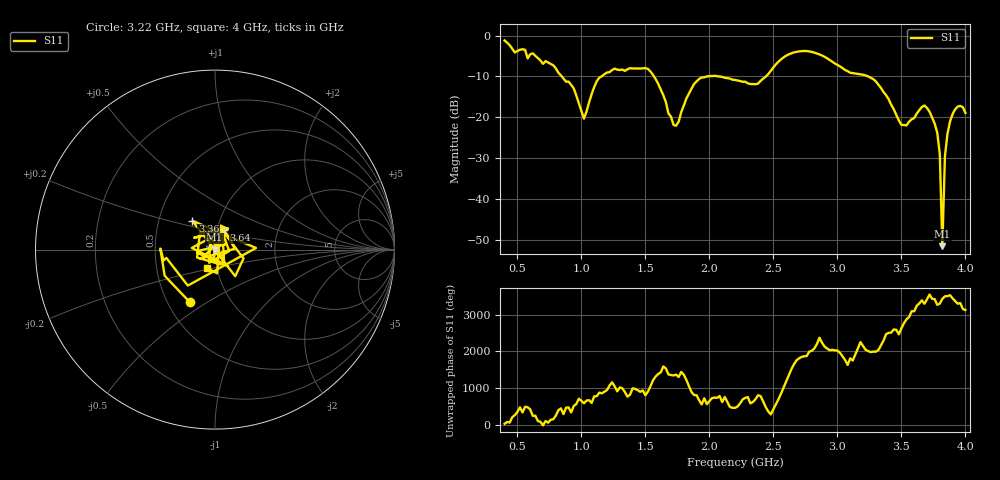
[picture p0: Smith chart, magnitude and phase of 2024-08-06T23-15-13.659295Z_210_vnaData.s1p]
!Created with skrf (http://scikit-rf.org).
# Hz S RI R 50.0
!freq ReS11 ImS11
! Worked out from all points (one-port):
!   181 points, 400 MHz to 4 GHz, reference 50 ohm
!   lowest |S11| = -51.6 dB at 3.82 GHz (marker M1), VSWR 1.01, Z = 49.7 - j0.0485 ohm
!   |S11| at or under -10 dB: 1.567 GHz to 1.986 GHz (419.2 MHz wide, 23.6 % of centre); 2.074 GHz to 2.442 GHz (368.5 MHz wide, 16.3 % of centre); 3.24 GHz to end of sweep (the widest 3 of 4)
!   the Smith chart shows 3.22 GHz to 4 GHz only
!   S11 on the Smith chart (normalised r, x): 3.22 GHz: 0.65, -0.42; 3.36 GHz: 0.74, +0.25; 3.64 GHz: 1.08, +0.24; 4 GHz: 0.89, -0.19
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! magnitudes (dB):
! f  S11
! 400 MHz  -1.2
! 860 MHz  -10.5
! 940 MHz  -12.9
! 1.02 GHz  -20.4
! 1.12 GHz  -11.2
! 1.3 GHz  -8.4
! 1.52 GHz  -8.2
! 1.6 GHz  -11.8
! 1.72 GHz  -21.9
! 1.76 GHz  -21.1
! 1.92 GHz  -10.6
! 2.2 GHz  -10.9
! 2.38 GHz  -11.8
! 2.66 GHz  -4.1
! 3.1 GHz  -9.1
! 3.22 GHz  -9.8
! 3.36 GHz  -13.8
! 3.5 GHz  -21.9
! 3.56 GHz  -21.1
! 3.64 GHz  -18.3
! 3.7 GHz  -17.7
! 3.78 GHz  -23.8
! 3.8 GHz  -29.0
! 3.82 GHz  -51.6
! 3.84 GHz  -29.6
! 3.86 GHz  -24.1
! 3.92 GHz  -18.1
! 4 GHz  -18.9
